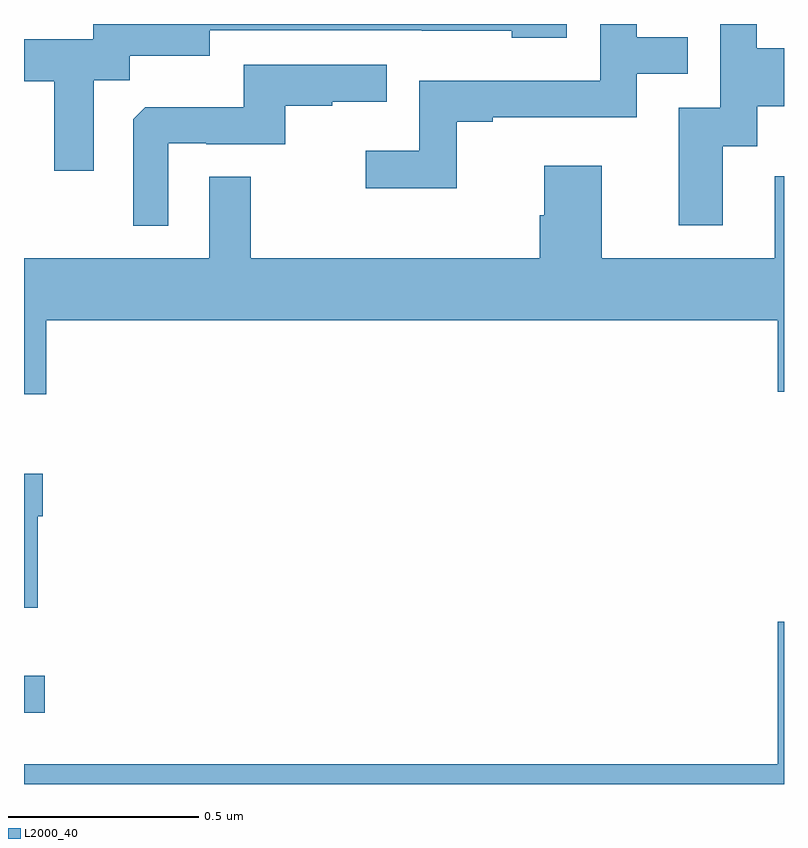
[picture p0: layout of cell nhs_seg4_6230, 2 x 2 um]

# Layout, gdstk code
import gdstk
lib = gdstk.Library(unit=1e-6, precision=1e-09)
def R(c, l, rs):  # rectangles x0, y0, x1, y1
    for r in rs: c.add(gdstk.rectangle(r[:2], r[2:], *l))
def P(c, l, *ps):  # polygons
    for p in ps: c.add(gdstk.Polygon(p, *l))
L2000_40 = (2000, 40)

nhs_seg4_6230 = lib.new_cell('nhs_seg4_6230')
R(nhs_seg4_6230, L2000_40, [(187,829.088,187.054,829.185)])
P(nhs_seg4_6230, L2000_40, [(188.139,830.643),(188.233,830.643),(188.233,830.655),(188.613,830.655),(188.613,830.769),(188.747,830.769),(188.747,830.865),(188.613,830.865),(188.613,830.9),(188.517,830.9),(188.517,830.751),(188.04,830.751),(188.04,830.566),(187.899,830.566),(187.899,830.468),(188.139,830.468)],
  [(188.839,830.578),(188.929,830.578),(188.929,830.684),(189,830.684),(189,830.836),(188.928,830.836),(188.928,830.9),(188.832,830.9),(188.832,830.679),(188.723,830.679),(188.723,830.37),(188.839,830.37)],
  [(187.183,830.752),(187.278,830.752),(187.278,830.816),(187.489,830.816),(187.489,830.883),(188.047,830.883),(188.047,830.882),(188.283,830.882),(188.283,830.864),(188.428,830.864),(188.428,830.9),(187.182,830.9),(187.182,830.86),(187,830.86),(187,830.75),(187.079,830.75),(187.079,830.514),(187.183,830.514)],
  [(187.38,830.586),(187.48,830.586),(187.48,830.583),(187.688,830.583),(187.688,830.685),(187.811,830.685),(187.811,830.696),(187.955,830.696),(187.955,830.793),(187.578,830.793),(187.578,830.681),(187.319,830.681),(187.287,830.649),(187.287,830.369),(187.38,830.369)],
  [(188.984,829.932),(189,829.932),(189,830.5),(188.975,830.5),(188.975,830.284),(188.521,830.284),(188.521,830.527),(188.369,830.527),(188.369,830.397),(188.357,830.397),(188.357,830.284),(187.597,830.284),(187.597,830.498),(187.488,830.498),(187.488,830.284),(187,830.284),(187,829.926),(187.058,829.926),(187.058,830.12),(188.984,830.12)],
  [(187.036,829.604),(187.049,829.604),(187.049,829.717),(187,829.717),(187,829.364),(187.036,829.364)],
  [(189,829.327),(188.984,829.327),(188.984,828.952),(187,828.952),(187,828.9),(189,828.9)])

lib.write_gds('nhs_seg4_6230.gds')
